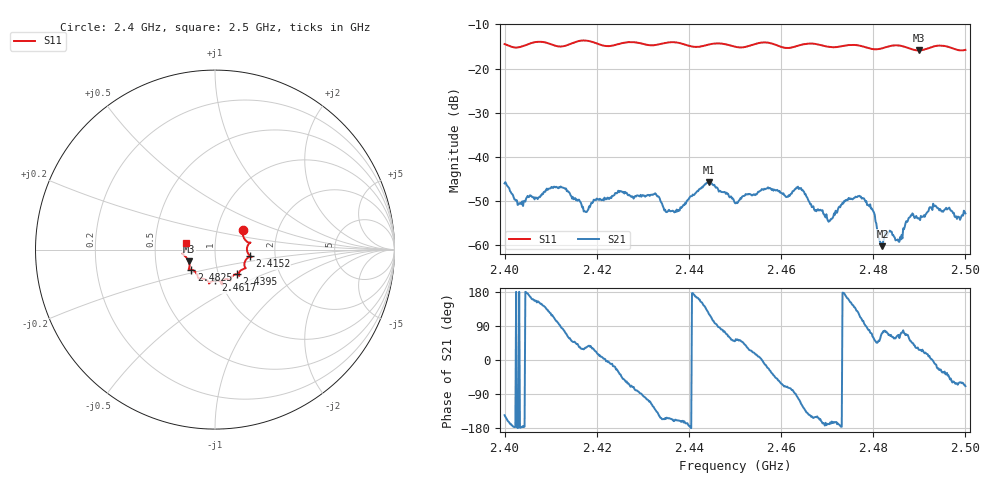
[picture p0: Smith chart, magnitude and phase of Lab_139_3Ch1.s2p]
# Hz S RI R 50
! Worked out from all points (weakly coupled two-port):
!   601 points, 2.4 GHz to 2.5 GHz, reference 50 ohm
!   highest |S21| = -45.64 dB at 2.4443 GHz (marker M1); lowest = -60.2 dB at 2.482 GHz (marker M2)
!   lowest |S11| = -15.9 dB at 2.4898 GHz (marker M3), VSWR 1.38, Z = 36.9 - j4.93 ohm
!   |S11| at or under -10 dB: start of sweep to end of sweep
!   S12 and S22 are empty: the file has one direction only
!   S11 on the Smith chart (normalised r, x): 2.4 GHz: 1.33, +0.30; 2.4152 GHz: 1.48, -0.11; 2.4395 GHz: 1.23, -0.35; 2.4617 GHz: 0.95, -0.33; 2.4825 GHz: 0.75, -0.17; 2.5 GHz: 0.72, +0.05
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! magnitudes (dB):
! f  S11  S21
! 2.4 GHz  -14.4  -46.0
! 2.4032 GHz  -15.1  -50.5
! 2.4107 GHz  -14.7  -46.7
! 2.4152 GHz  -14.1  -49.4
! 2.4167 GHz  -13.7  -50.7
! 2.4333 GHz  -14.5  -48.9
! 2.4355 GHz  -14.1  -52.2
! 2.4395 GHz  -14.7  -50.0
! 2.4443 GHz  -14.5  -45.6
! 2.45 GHz  -15.0  -50.4
! 2.4617 GHz  -15.3  -48.6
! 2.4638 GHz  -14.8  -47.2
! 2.4667 GHz  -14.3  -51.3
! 2.4707 GHz  -15.1  -54.4
! 2.4775 GHz  -14.9  -49.4
! 2.482 GHz  -15.4  -60.2
! 2.4825 GHz  -15.2  -57.7
! 2.4833 GHz  -15.0  -56.9
! 2.4855 GHz  -14.8  -59.1
! 2.4882 GHz  -15.5  -53.2
! 2.4898 GHz  -15.9  -53.8
! 2.5 GHz  -15.8  -52.8
